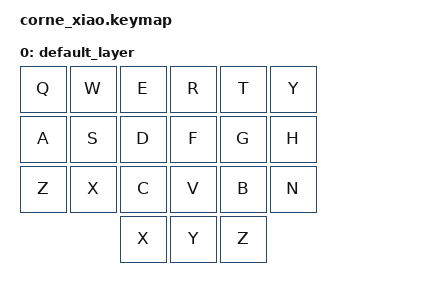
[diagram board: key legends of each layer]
#include <behaviors.dtsi>
#include <dt-bindings/zmk/keys.h>
#include <dt-bindings/zmk/bt.h>

/ {
    keymap {
        compatible = "zmk,keymap";

        default_layer {
            bindings = <
                &kp Q     &kp W     &kp E     &kp R     &kp T     &kp Y         
                &kp A     &kp S     &kp D     &kp F     &kp G     &kp H         
                &kp Z     &kp X     &kp C     &kp V     &kp B     &kp N         
                                    &kp X     &kp Y     &kp Z
            >;
        };
    };
};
